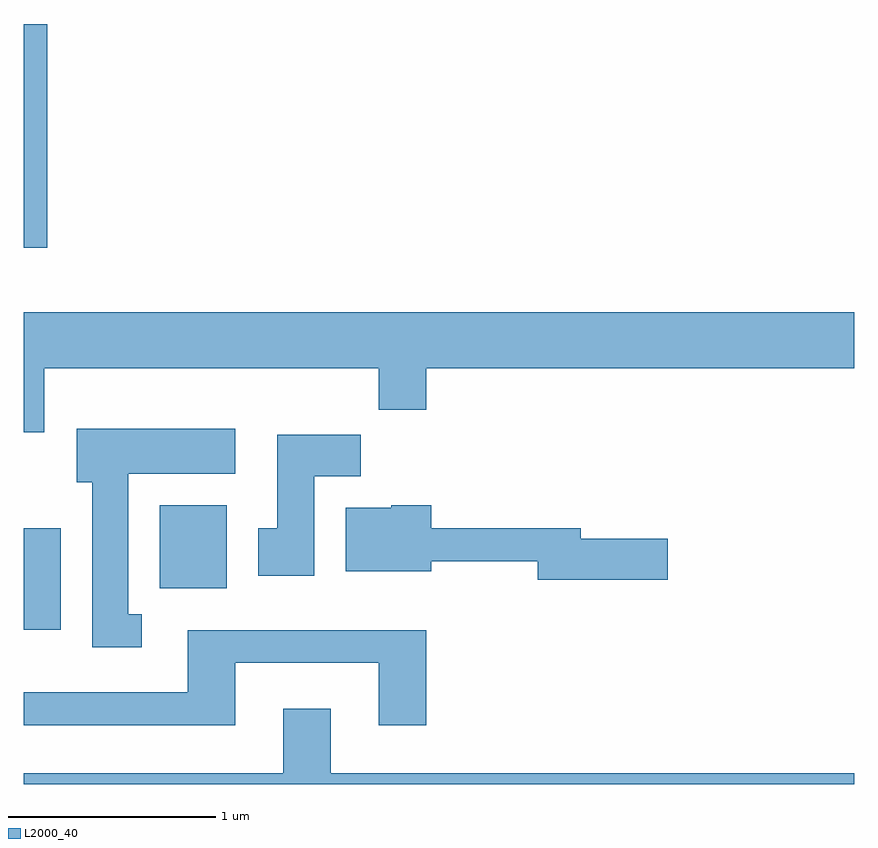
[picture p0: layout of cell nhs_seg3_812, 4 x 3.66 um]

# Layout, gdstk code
import gdstk
lib = gdstk.Library(unit=1e-6, precision=1e-09)
def R(c, l, rs):  # rectangles x0, y0, x1, y1
    for r in rs: c.add(gdstk.rectangle(r[:2], r[2:], *l))
def P(c, l, *ps):  # polygons
    for p in ps: c.add(gdstk.Polygon(p, *l))
L2000_40 = (2000, 40)

nhs_seg3_812 = lib.new_cell('nhs_seg3_812')
R(nhs_seg3_812, L2000_40, [(207.611,1244.636,207.789,1245.124), (208.266,1244.836,208.589,1245.234), (207.611,1246.476,207.724,1247.554)])
P(nhs_seg3_812, L2000_40, [(207.709,1245.896),(209.321,1245.896),(209.321,1245.696),(209.549,1245.696),(209.549,1245.896),(211.611,1245.896),(211.611,1246.164),(207.611,1246.164),(207.611,1245.586),(207.709,1245.586)],
  [(208.178,1244.709),(208.114,1244.709),(208.114,1245.386),(208.629,1245.386),(208.629,1245.604),(207.866,1245.604),(207.866,1245.346),(207.941,1245.346),(207.941,1244.551),(208.178,1244.551)],
  [(209.009,1245.376),(209.234,1245.376),(209.234,1245.574),(208.831,1245.574),(208.831,1245.124),(208.741,1245.124),(208.741,1244.896),(209.009,1244.896)],
  [(210.714,1245.074),(210.294,1245.074),(210.294,1245.124),(209.574,1245.124),(209.574,1245.234),(209.38,1245.234),(209.38,1245.224),(209.161,1245.224),(209.161,1244.916),(209.574,1244.916),(209.574,1244.966),(210.086,1244.966),(210.086,1244.876),(210.714,1244.876)],
  [(208.629,1244.476),(209.321,1244.476),(209.321,1244.176),(209.549,1244.176),(209.549,1244.634),(208.401,1244.634),(208.401,1244.334),(207.611,1244.334),(207.611,1244.176),(208.629,1244.176)],
  [(211.611,1243.944),(209.089,1243.944),(209.089,1244.254),(208.861,1244.254),(208.861,1243.944),(207.611,1243.944),(207.611,1243.892),(211.611,1243.892)])

lib.write_gds('nhs_seg3_812.gds')
